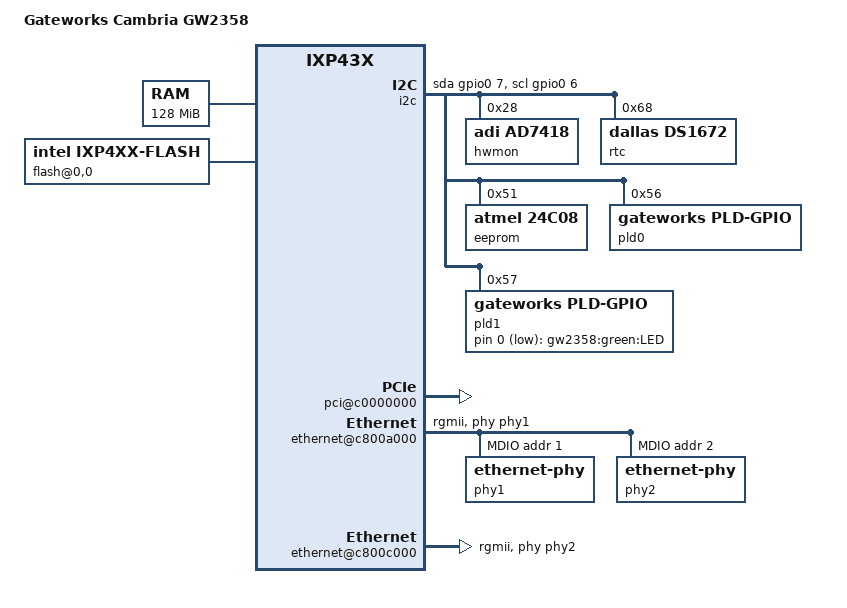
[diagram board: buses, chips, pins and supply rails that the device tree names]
// SPDX-License-Identifier: ISC
/*
 * Device Tree file for Gateworks IXP43x-based Cambria GW2358
 */

/dts-v1/;

#include "intel-ixp43x.dtsi"

/ {
	model = "Gateworks Cambria GW2358";
	compatible = "gateworks,gw2358", "intel,ixp43x";
	#address-cells = <1>;
	#size-cells = <1>;

	memory@0 {
		/* 128 MB SDRAM */
		device_type = "memory";
		reg = <0x00000000 0x8000000>;
	};

	chosen {
		bootargs = "console=ttyS0,115200n8 root=/dev/mtdblock2 rw rootfstype=squashfs,jffs2 rootwait";
		stdout-path = "uart0:115200n8";
	};

	aliases {
		serial0 = &uart0;
	};

	leds {
		compatible = "gpio-leds";
		led-user {
			label = "gw2358:green:LED";
			gpios = <&pld1 0 GPIO_ACTIVE_LOW>;
			default-state = "on";
			linux,default-trigger = "heartbeat";
		};
	};


	i2c {
		compatible = "i2c-gpio";
		sda-gpios = <&gpio0 7 (GPIO_ACTIVE_HIGH|GPIO_OPEN_DRAIN)>;
		scl-gpios = <&gpio0 6 (GPIO_ACTIVE_HIGH|GPIO_OPEN_DRAIN)>;
		#address-cells = <1>;
		#size-cells = <0>;

		hwmon@28 {
			compatible = "adi,ad7418";
			reg = <0x28>;
		};
		rtc: ds1672@68 {
			compatible = "dallas,ds1672";
			reg = <0x68>;
		};
		eeprom@51 {
			compatible = "atmel,24c08";
			reg = <0x51>;
			pagesize = <16>;
			size = <1024>;
			read-only;
		};
		pld0: pld@56 {
			compatible = "gateworks,pld-gpio";
			reg = <0x56>;
			gpio-controller;
			#gpio-cells = <2>;
		};
		/* This PLD just handles the LED and user button */
		pld1: pld@57 {
			compatible = "gateworks,pld-gpio";
			reg = <0x57>;
			gpio-controller;
			#gpio-cells = <2>;
		};
	};

	soc {
		bus@c4000000 {
			flash@0,0 {
				compatible = "intel,ixp4xx-flash", "cfi-flash";
				bank-width = <2>;
				/* Enable writes on the expansion bus */
				intel,ixp4xx-eb-write-enable = <1>;
				/*
				 * 32 MB of Flash in 0x20000 byte blocks
				 * mapped in at CS0 and CS1
				 */
				reg = <0 0x00000000 0x2000000>;

				partitions {
					compatible = "redboot-fis";
					/* Eraseblock at 0x1fe0000 */
					fis-index-block = <0xff>;
				};
			};
			ide@3,0 {
				compatible = "intel,ixp4xx-compact-flash";
				/*
				 * Set up expansion bus config to a really slow timing.
				 * The CF driver will dynamically reconfigure these timings
				 * depending on selected PIO mode (0-4).
				 */
				intel,ixp4xx-eb-t1 = <3>; // 3 cycles extra address phase
				intel,ixp4xx-eb-t2 = <3>; // 3 cycles extra setup phase
				intel,ixp4xx-eb-t3 = <15>; // 15 cycles extra strobe phase
				intel,ixp4xx-eb-t4 = <3>; // 3 cycles extra hold phase
				intel,ixp4xx-eb-t5 = <15>; // 15 cycles extra recovery phase
				intel,ixp4xx-eb-cycle-type = <0>; // Intel cycle type
				intel,ixp4xx-eb-byte-access-on-halfword = <1>;
				intel,ixp4xx-eb-mux-address-and-data = <0>;
				intel,ixp4xx-eb-ahb-split-transfers = <0>;
				intel,ixp4xx-eb-write-enable = <1>;
				intel,ixp4xx-eb-byte-access = <1>;
				/* First register set is CMD second is CTL */
				reg = <3 0xe00000 0x40000>, <3 0xe40000 0x40000>;
				interrupt-parent = <&gpio0>;
				interrupts = <12 IRQ_TYPE_EDGE_RISING>;
			};
		};

		pci@c0000000 {
			status = "ok";

			/*
			 * In the boardfile for the Cambria from OpenWRT the interrupts
			 * are assigned one per IDSEL, so all 4 interrupts from IDSEL
			 * 1 are connected to IRQ 11, all 4 interrupts from IDSEL 2
			 * connected to IRQ 10 etc. I find this highly unlikely so I
			 * have instead assumed that they are rotated (swizzled) like
			 * this with 11, 10, 9, 8 for the 4 pins on IDSEL 1 etc.
			 */
			#interrupt-cells = <1>;
			interrupt-map-mask = <0xf800 0 0 7>;
			interrupt-map =
			/* IDSEL 1 */
			<0x0800 0 0 1 &gpio0 11 IRQ_TYPE_LEVEL_LOW>, /* INT A on slot 1 is irq 11 */
			<0x0800 0 0 2 &gpio0 10 IRQ_TYPE_LEVEL_LOW>, /* INT B on slot 1 is irq 10 */
			<0x0800 0 0 3 &gpio0 9  IRQ_TYPE_LEVEL_LOW>, /* INT C on slot 1 is irq 9 */
			<0x0800 0 0 4 &gpio0 8  IRQ_TYPE_LEVEL_LOW>, /* INT D on slot 1 is irq 8 */
			/* IDSEL 2 */
			<0x1000 0 0 1 &gpio0 10 IRQ_TYPE_LEVEL_LOW>, /* INT A on slot 2 is irq 10 */
			<0x1000 0 0 2 &gpio0 9  IRQ_TYPE_LEVEL_LOW>, /* INT B on slot 2 is irq 9 */
			<0x1000 0 0 3 &gpio0 8  IRQ_TYPE_LEVEL_LOW>, /* INT C on slot 2 is irq 8 */
			<0x1000 0 0 4 &gpio0 11 IRQ_TYPE_LEVEL_LOW>, /* INT D on slot 2 is irq 11 */
			/* IDSEL 3 */
			<0x1800 0 0 1 &gpio0 9  IRQ_TYPE_LEVEL_LOW>, /* INT A on slot 3 is irq 9 */
			<0x1800 0 0 2 &gpio0 8  IRQ_TYPE_LEVEL_LOW>, /* INT B on slot 3 is irq 8 */
			<0x1800 0 0 3 &gpio0 11 IRQ_TYPE_LEVEL_LOW>, /* INT C on slot 3 is irq 11 */
			<0x1800 0 0 4 &gpio0 10 IRQ_TYPE_LEVEL_LOW>, /* INT D on slot 3 is irq 10 */
			/* IDSEL 4 */
			<0x2000 0 0 1 &gpio0 8  IRQ_TYPE_LEVEL_LOW>, /* INT A on slot 3 is irq 8 */
			<0x2000 0 0 2 &gpio0 11 IRQ_TYPE_LEVEL_LOW>, /* INT B on slot 3 is irq 11 */
			<0x2000 0 0 3 &gpio0 10 IRQ_TYPE_LEVEL_LOW>, /* INT C on slot 3 is irq 10 */
			<0x2000 0 0 4 &gpio0 9  IRQ_TYPE_LEVEL_LOW>, /* INT D on slot 3 is irq 9 */
			/* IDSEL 6 */
			<0x3000 0 0 1 &gpio0 10 IRQ_TYPE_LEVEL_LOW>, /* INT A on slot 3 is irq 10 */
			<0x3000 0 0 2 &gpio0 9  IRQ_TYPE_LEVEL_LOW>, /* INT B on slot 3 is irq 9 */
			<0x3000 0 0 3 &gpio0 8  IRQ_TYPE_LEVEL_LOW>, /* INT C on slot 3 is irq 8 */
			<0x3000 0 0 4 &gpio0 11 IRQ_TYPE_LEVEL_LOW>, /* INT D on slot 3 is irq 11 */
			/* IDSEL 15 */
			<0x7800 0 0 1 &gpio0 8  IRQ_TYPE_LEVEL_LOW>, /* INT A on slot 3 is irq 8 */
			<0x7800 0 0 2 &gpio0 11 IRQ_TYPE_LEVEL_LOW>, /* INT B on slot 3 is irq 11 */
			<0x7800 0 0 3 &gpio0 10 IRQ_TYPE_LEVEL_LOW>, /* INT C on slot 3 is irq 10 */
			<0x7800 0 0 4 &gpio0 9  IRQ_TYPE_LEVEL_LOW>; /* INT D on slot 3 is irq 9 */
		};

		ethernet@c800a000 {
			status = "ok";
			queue-rx = <&qmgr 4>;
			queue-txready = <&qmgr 21>;
			phy-mode = "rgmii";
			phy-handle = <&phy1>;

			mdio {
				#address-cells = <1>;
				#size-cells = <0>;

				phy1: ethernet-phy@1 {
					reg = <1>;
				};

				phy2: ethernet-phy@2 {
					reg = <2>;
				};
			};
		};

		ethernet@c800c000 {
			status = "ok";
			queue-rx = <&qmgr 2>;
			queue-txready = <&qmgr 19>;
			phy-mode = "rgmii";
			phy-handle = <&phy2>;
			intel,npe-handle = <&npe 0>;
		};
	};
};
